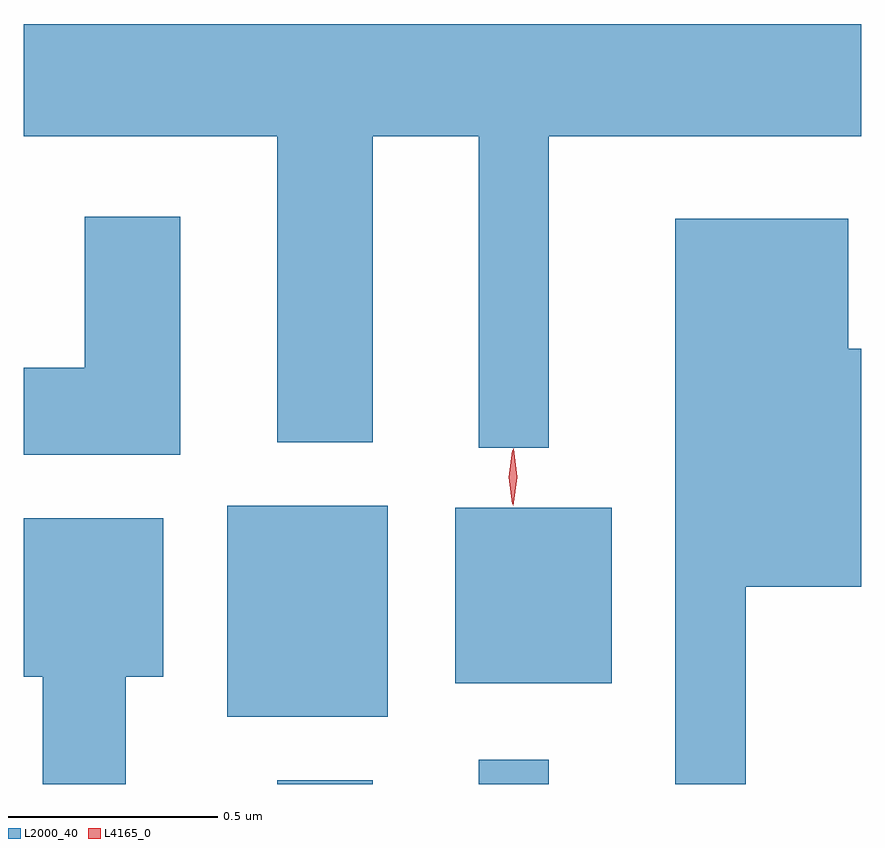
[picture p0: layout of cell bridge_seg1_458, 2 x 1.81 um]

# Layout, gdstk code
import gdstk
lib = gdstk.Library(unit=1e-6, precision=1e-09)
def R(c, l, rs):  # rectangles x0, y0, x1, y1
    for r in rs: c.add(gdstk.rectangle(r[:2], r[2:], *l))
def P(c, l, *ps):  # polygons
    for p in ps: c.add(gdstk.Polygon(p, *l))
L2000_40 = (2000, 40)
L4165_0 = (4165, 0)

bridge_seg1_458 = lib.new_cell('bridge_seg1_458')
R(bridge_seg1_458, L2000_40, [(408.011,882.49,408.239,882.499), (408.491,882.49,408.659,882.548), (407.891,882.651,408.274,883.154), (408.436,882.731,408.809,883.149)])
P(bridge_seg1_458, L2000_40, [(408.659,884.036),(409.405,884.036),(409.405,884.304),(407.405,884.304),(407.405,884.036),(408.011,884.036),(408.011,883.306),(408.239,883.306),(408.239,884.036),(408.491,884.036),(408.491,883.293),(408.659,883.293)],
  [(407.779,883.844),(407.551,883.844),(407.551,883.484),(407.405,883.484),(407.405,883.276),(407.779,883.276)],
  [(409.129,882.961),(409.404,882.961),(409.404,883.529),(409.374,883.529),(409.374,883.839),(408.961,883.839),(408.961,882.49),(409.129,882.49)],
  [(407.649,882.746),(407.739,882.746),(407.739,883.124),(407.405,883.124),(407.405,882.746),(407.451,882.746),(407.451,882.49),(407.649,882.49)])
P(bridge_seg1_458, L4165_0, [(408.574,883.154),(408.574,883.154),(408.564,883.222),(408.574,883.29),(408.575,883.29),(408.575,883.29),(408.584,883.222),(408.574,883.154)],
  [(408.573,883.158),(408.572,883.159),(408.563,883.222),(408.572,883.286),(408.573,883.287),(408.573,883.286),(408.583,883.222),(408.573,883.159)])

lib.write_gds('bridge_seg1_458.gds')
